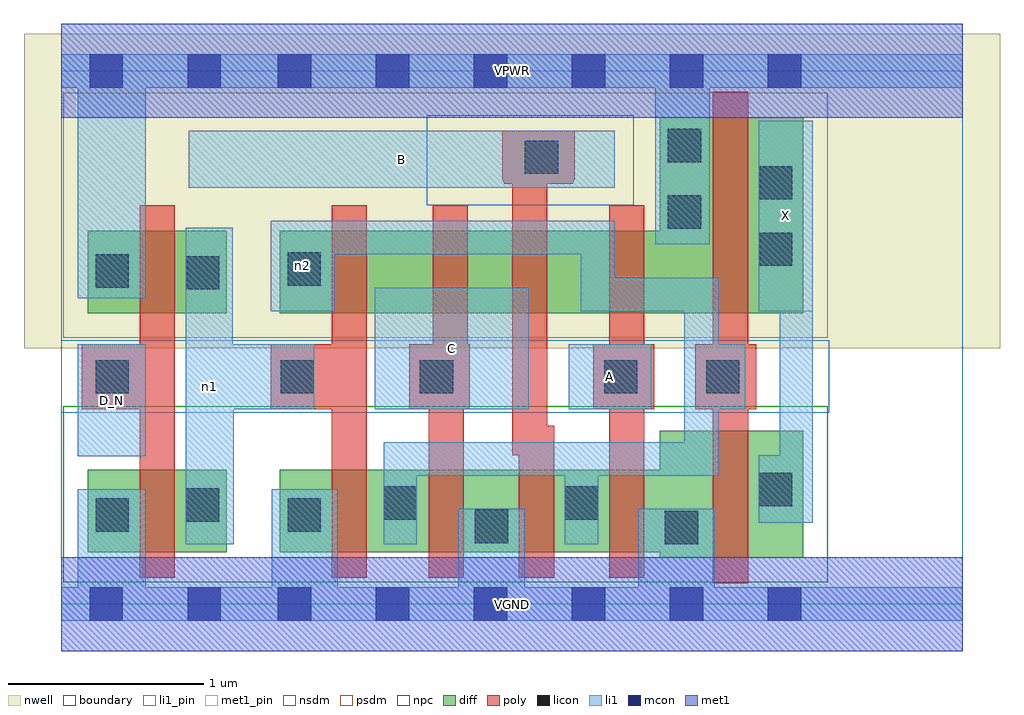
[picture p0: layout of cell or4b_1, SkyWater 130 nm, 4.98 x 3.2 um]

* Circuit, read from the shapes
.subckt or4b_1 A B C D_N VGND VPWR X n1 n2
XM1 n1 D_N VGND VSUBS sky130_fd_pr__nfet_01v8 w=0.42 l=0.18
XM2 n2 n1 VGND VSUBS sky130_fd_pr__nfet_01v8 w=0.42 l=0.18
XM3 VGND C n2 VSUBS sky130_fd_pr__nfet_01v8 w=0.42 l=0.18
XM4 n2 B VGND VSUBS sky130_fd_pr__nfet_01v8 w=0.42 l=0.18
XM5 VGND A n2 VSUBS sky130_fd_pr__nfet_01v8 w=0.42 l=0.18
XM6 X n2 VGND VSUBS sky130_fd_pr__nfet_01v8 w=0.65 l=0.18
XM7 n1 D_N VPWR n3 sky130_fd_pr__pfet_01v8 w=0.42 l=0.18
XM8 n4 n1 n2 n3 sky130_fd_pr__pfet_01v8 w=0.42 l=0.18
XM9 n5 C n4 n3 sky130_fd_pr__pfet_01v8 w=0.42 l=0.18
XM10 n6 B n5 n3 sky130_fd_pr__pfet_01v8 w=0.42 l=0.18
XM11 VPWR A n6 n3 sky130_fd_pr__pfet_01v8 w=0.42 l=0.18
XM12 X n2 VPWR n3 sky130_fd_pr__pfet_01v8 w=1 l=0.18
.ends

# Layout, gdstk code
import gdstk
lib = gdstk.Library(unit=1e-6, precision=1e-09)
def R(c, l, rs):  # rectangles x0, y0, x1, y1
    for r in rs: c.add(gdstk.rectangle(r[:2], r[2:], *l))
def A(c, l, x, y, w, h, nx, ny, dx, dy):  # array of equal rectangles
    R(c, l, [(x+i*dx, y+j*dy, x+i*dx+w, y+j*dy+h) for i in range(nx) for j in range(ny)])
nwell = (64, 20)
diff = (65, 20)
poly = (66, 20)
licon = (66, 44)
li1_pin = (67, 16)
li1 = (67, 20)
mcon = (67, 44)
met1_pin = (68, 16)
met1 = (68, 20)
nsdm = (93, 44)
psdm = (94, 20)
npc = (95, 20)
boundary = (235, 4)

or4b_1 = lib.new_cell('or4b_1')
R(or4b_1, nwell, [(-0.19,1.305,4.79,2.91), (0,1.305,4.6,2.91)])
R(or4b_1, diff, [(3.055,0.235,3.785,0.885), (0.135,0.265,0.845,0.685), (1.115,0.265,3.785,0.685), (0.135,1.485,0.845,1.905), (1.115,1.485,3.785,1.905), (3.055,1.485,3.785,2.485)])
R(or4b_1, poly, [(3.325,0.105,3.505,2.615), (0.4,0.135,0.58,2.035), (1.38,0.135,1.56,2.035), (1.875,0.135,2.055,1.325), (2.335,0.135,2.515,0.91), (2.795,0.135,2.975,2.035), (2.3,0.76,2.48,2.415), (0.105,0.995,0.58,1.325), (1.07,0.995,1.56,1.325), (1.775,0.995,2.085,1.325), (1.895,0.995,2.075,2.035), (2.715,0.995,3.025,1.325), (3.235,0.995,3.545,1.325), (2.26,2.145,2.61,2.415), (2.255,2.155,2.615,2.415), (2.25,2.165,2.62,2.415)])
R(or4b_1, licon, [(3.08,0.305,3.25,0.475), (2.11,0.31,2.28,0.48), (0.175,0.37,0.345,0.54), (1.155,0.37,1.325,0.54), (0.635,0.42,0.805,0.59), (1.645,0.43,1.815,0.6), (2.57,0.43,2.74,0.6), (3.56,0.5,3.73,0.67), (0.175,1.075,0.345,1.245), (1.12,1.075,1.29,1.245), (1.83,1.075,2,1.245), (2.77,1.075,2.94,1.245), (3.29,1.075,3.46,1.245), (0.635,1.605,0.805,1.775), (0.175,1.615,0.345,1.785), (1.155,1.625,1.325,1.795), (3.56,1.725,3.73,1.895), (3.095,1.915,3.265,2.085), (3.56,2.065,3.73,2.235), (2.365,2.195,2.535,2.365), (3.095,2.255,3.265,2.425)])
R(or4b_1, li1_pin, [(0.085,0.755,0.43,1.325), (1.6,0.995,2.385,1.615), (2.59,0.995,3.01,1.325), (3.56,1.495,3.835,2.465), (0.65,2.125,2.825,2.415)])
R(or4b_1, li1, [(0,-0.085,4.6,0.085), (0.085,-0.085,0.43,0.585), (1.075,-0.085,1.41,0.585), (2.025,-0.085,2.365,0.485), (2.945,-0.085,3.335,0.485), (0.635,0.305,0.875,1.92), (0.635,0.305,0.88,1.325), (1.645,0.305,1.815,0.825), (2.57,0.305,2.74,0.825), (3.56,0.415,3.835,0.76), (3.665,0.415,3.835,2.465), (1.645,0.655,3.355,0.825), (3.18,0.655,3.355,1.665), (0.085,0.755,0.43,1.325), (0.635,0.995,1.29,1.325), (1.6,0.995,2.385,1.615), (2.59,0.995,3.01,1.325), (3.18,0.995,3.49,1.325), (1.07,1.495,1.395,1.955), (2.65,1.495,3.355,1.665), (2.65,1.495,2.825,1.955), (3.56,1.495,3.835,2.465), (0.085,1.56,0.43,2.805), (1.07,1.785,2.825,1.955), (3.03,1.835,3.31,2.805), (0.65,2.125,2.825,2.415), (0,2.635,4.6,2.805)])
A(or4b_1, mcon, 1.105, -0.085, 0.17, 0.17, 6, 2, 0.5, 2.72)
R(or4b_1, mcon, [(0.145,-0.085,0.315,0.085), (0.645,-0.085,0.815,0.085), (0.145,2.635,0.315,2.805), (0.645,2.635,0.815,2.805)])
R(or4b_1, met1_pin, [(0,-0.24,4.6,0.24), (0,2.48,4.6,2.96)])
R(or4b_1, met1, [(0,-0.24,4.6,0.24), (0,2.48,4.6,2.96)])
R(or4b_1, nsdm, [(0.01,0.11,3.91,1.01)])
R(or4b_1, psdm, [(0.01,1.36,3.91,2.61)])
R(or4b_1, npc, [(0,0.975,3.92,1.345), (1.865,2.035,2.92,2.495)])
R(or4b_1, boundary, [(0,0,4.6,2.72)])
or4b_1.add(gdstk.Label('A', (2.8,1.16), layer=67, texttype=5))
or4b_1.add(gdstk.Label('B', (1.737,2.27), layer=67, texttype=5))
or4b_1.add(gdstk.Label('C', (1.992,1.305), layer=67, texttype=5))
or4b_1.add(gdstk.Label('D_N', (0.257,1.04), layer=67, texttype=5))
or4b_1.add(gdstk.Label('X', (3.697,1.98), layer=67, texttype=5))
or4b_1.add(gdstk.Label('n1', (0.755,1.112), layer=67, texttype=5))
or4b_1.add(gdstk.Label('n2', (1.232,1.725), layer=67, texttype=5))
or4b_1.add(gdstk.Label('VPWR', (2.3,2.72), layer=68, texttype=5))
or4b_1.add(gdstk.Label('VGND', (2.3,0), layer=68, texttype=5))
or4b_1.add(gdstk.Label('A', (2.8,1.16), layer=67, texttype=16))
or4b_1.add(gdstk.Label('B', (1.737,2.27), layer=67, texttype=16))
or4b_1.add(gdstk.Label('C', (1.992,1.305), layer=67, texttype=16))
or4b_1.add(gdstk.Label('D_N', (0.257,1.04), layer=67, texttype=16))
or4b_1.add(gdstk.Label('X', (3.697,1.98), layer=67, texttype=16))
or4b_1.add(gdstk.Label('VPWR', (2.3,2.72), layer=68, texttype=16))
or4b_1.add(gdstk.Label('VGND', (2.3,0), layer=68, texttype=16))

lib.write_gds('or4b_1.gds')
